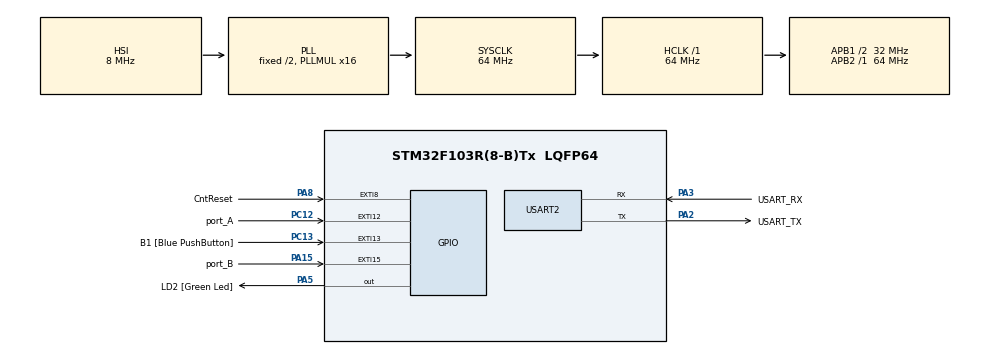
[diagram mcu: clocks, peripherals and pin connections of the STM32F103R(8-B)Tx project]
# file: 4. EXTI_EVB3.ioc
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Mcu.Family=STM32F1
Mcu.Name=STM32F103R(8-B)Tx
Mcu.Package=LQFP64
NVIC.EXTI15_10_IRQn=true\:0\:0\:false\:false\:true\:true\:true\:true
NVIC.PriorityGroup=NVIC_PRIORITYGROUP_4
PA13.GPIO_Label=TMS
PA13.Mode=Serial_Wire
PA13.Signal=SYS_JTMS-SWDIO
PA14.GPIO_Label=TCK
PA14.Mode=Serial_Wire
PA14.Signal=SYS_JTCK-SWCLK
PA15.GPIO_Label=port_B
PA15.Signal=GPXTI15
PA2.GPIO_Label=USART_TX
PA2.GPIO_Mode=GPIO_MODE_AF_PP
PA2.GPIO_PuPd=GPIO_NOPULL
PA2.GPIO_Speed=GPIO_SPEED_FREQ_LOW
PA2.Mode=Asynchronous
PA2.Signal=USART2_TX
PA3.GPIO_Label=USART_RX
PA3.GPIO_Mode=GPIO_MODE_AF_PP
PA3.GPIO_PuPd=GPIO_NOPULL
PA3.GPIO_Speed=GPIO_SPEED_FREQ_LOW
PA3.Mode=Asynchronous
PA3.Signal=USART2_RX
PA5.GPIO_Label=LD2 [Green Led]
PA5.GPIO_ModeDefaultOutputPP=GPIO_MODE_OUTPUT_PP
PA5.GPIO_PuPd=GPIO_NOPULL
PA5.GPIO_Speed=GPIO_SPEED_FREQ_LOW
PA5.Signal=GPIO_Output
PA8.GPIO_Label=CntReset
PA8.GPIO_ModeDefaultEXTI=GPIO_MODE_IT_FALLING
PA8.Signal=GPXTI8
PB3.GPIO_Label=SWO
PB3.Signal=SYS_JTDO-TRACESWO
PC12.GPIO_Label=port_A
PC12.Signal=GPXTI12
PC13-TAMPER-RTC.GPIO_Label=B1 [Blue PushButton]
PC13-TAMPER-RTC.GPIO_PuPd=GPIO_NOPULL
PC13-TAMPER-RTC.Signal=GPXTI13
PC14-OSC32_IN.Signal=RCC_OSC32_IN
PC15-OSC32_OUT.Signal=RCC_OSC32_OUT
PD0-OSC_IN.Signal=RCC_OSC_IN
PD1-OSC_OUT.Signal=RCC_OSC_OUT
ProjectManager.HeapSize=0x200
ProjectManager.StackSize=0x400
ProjectManager.TargetToolchain=STM32CubeIDE
RCC.AHBFreq_Value=64000000
RCC.APB1CLKDivider=RCC_HCLK_DIV2
RCC.APB1Freq_Value=32000000
RCC.APB1TimFreq_Value=64000000
RCC.APB2Freq_Value=64000000
RCC.APB2TimFreq_Value=64000000
RCC.HCLKFreq_Value=64000000
RCC.PLLMUL=RCC_PLL_MUL16
RCC.RTCClockSelection=RCC_RTCCLKSOURCE_LSE
RCC.SYSCLKFreq_VALUE=64000000
RCC.SYSCLKSource=RCC_SYSCLKSOURCE_PLLCLK
RCC.USBFreq_Value=64000000
USART2.VirtualMode=VM_ASYNC
board=NUCLEO-F103RB

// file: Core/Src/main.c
/* USER CODE BEGIN Header */
/**
  ******************************************************************************
  * @file           : main.c
  * @brief          : Main program body
  ******************************************************************************
  * @attention
  *
  * Copyright (c) 2025 STMicroelectronics.
  * All rights reserved.
  *
  * This software is licensed under terms that can be found in the LICENSE file
  * in the root directory of this software component.
  * If no LICENSE file comes with this software, it is provided AS-IS.
  *
  ******************************************************************************
  */
/* USER CODE END Header */
#include "main.h"

/* USER CODE BEGIN Includes */
#include <stdio.h>
/* USER CODE END Includes */

UART_HandleTypeDef huart2;

void SystemClock_Config(void);
static void MX_GPIO_Init(void);
static void MX_USART2_UART_Init(void);

/* USER CODE BEGIN 0 */
#ifdef __GNUC__
#define PUTCHAR_PROTOTYPE int __io_putchar(int ch)
#else
#define PUTCHAR_PROTOTYPE int fputc(int ch, FILE *f)
#endif

PUTCHAR_PROTOTYPE
{
	if (ch == '\n')
		HAL_UART_Transmit(&huart2, (uint8_t*) "\r", 1, 0xFFFF);
	HAL_UART_Transmit(&huart2, (uint8_t*) &ch, 1, 0xFFFF);

	return ch;
}

int EncCnt = 0;
/* USER CODE END 0 */

int main(void)
{

  /* MCU Configuration--------------------------------------------------------*/

  /* Reset of all peripherals, Initializes the Flash interface and the Systick. */
  HAL_Init();

  /* Configure the system clock */
  SystemClock_Config();

  /* Initialize all configured peripherals */
  MX_GPIO_Init();
  MX_USART2_UART_Init();

  /* Infinite loop */
  /* USER CODE BEGIN WHILE */
  int prevCnt = 0;

  while (1)
  {
    /* USER CODE END WHILE */

    /* USER CODE BEGIN 3 */
	  if(prevCnt != EncCnt) {
		  prevCnt = EncCnt;
		  printf("Count: %d\n", EncCnt);
	  }
  }
  /* USER CODE END 3 */
}

void SystemClock_Config(void)
{
  RCC_OscInitTypeDef RCC_OscInitStruct = {0};
  RCC_ClkInitTypeDef RCC_ClkInitStruct = {0};

  /** Initializes the RCC Oscillators according to the specified parameters
  * in the RCC_OscInitTypeDef structure.
  */
  RCC_OscInitStruct.OscillatorType = RCC_OSCILLATORTYPE_HSI;
  RCC_OscInitStruct.HSIState = RCC_HSI_ON;
  RCC_OscInitStruct.HSICalibrationValue = RCC_HSICALIBRATION_DEFAULT;
  RCC_OscInitStruct.PLL.PLLState = RCC_PLL_ON;
  RCC_OscInitStruct.PLL.PLLSource = RCC_PLLSOURCE_HSI_DIV2;
  RCC_OscInitStruct.PLL.PLLMUL = RCC_PLL_MUL16;
  if (HAL_RCC_OscConfig(&RCC_OscInitStruct) != HAL_OK)
  {
    Error_Handler();
  }

  /** Initializes the CPU, AHB and APB buses clocks
  */
  RCC_ClkInitStruct.ClockType = RCC_CLOCKTYPE_HCLK|RCC_CLOCKTYPE_SYSCLK
                              |RCC_CLOCKTYPE_PCLK1|RCC_CLOCKTYPE_PCLK2;
  RCC_ClkInitStruct.SYSCLKSource = RCC_SYSCLKSOURCE_PLLCLK;
  RCC_ClkInitStruct.AHBCLKDivider = RCC_SYSCLK_DIV1;
  RCC_ClkInitStruct.APB1CLKDivider = RCC_HCLK_DIV2;
  RCC_ClkInitStruct.APB2CLKDivider = RCC_HCLK_DIV1;

  if (HAL_RCC_ClockConfig(&RCC_ClkInitStruct, FLASH_LATENCY_2) != HAL_OK)
  {
    Error_Handler();
  }
}

static void MX_USART2_UART_Init(void)
{

  huart2.Instance = USART2;
  huart2.Init.BaudRate = 115200;
  huart2.Init.WordLength = UART_WORDLENGTH_8B;
  huart2.Init.StopBits = UART_STOPBITS_1;
  huart2.Init.Parity = UART_PARITY_NONE;
  huart2.Init.Mode = UART_MODE_TX_RX;
  huart2.Init.HwFlowCtl = UART_HWCONTROL_NONE;
  huart2.Init.OverSampling = UART_OVERSAMPLING_16;
  if (HAL_UART_Init(&huart2) != HAL_OK)
  {
    Error_Handler();
  }

}

static void MX_GPIO_Init(void)
{
  GPIO_InitTypeDef GPIO_InitStruct = {0};

  /* GPIO Ports Clock Enable */
  __HAL_RCC_GPIOC_CLK_ENABLE();
  __HAL_RCC_GPIOD_CLK_ENABLE();
  __HAL_RCC_GPIOA_CLK_ENABLE();
  __HAL_RCC_GPIOB_CLK_ENABLE();

  /*Configure GPIO pin Output Level */
  HAL_GPIO_WritePin(LD2_GPIO_Port, LD2_Pin, GPIO_PIN_RESET);

  /*Configure GPIO pins : B1_Pin port_A_Pin */
  GPIO_InitStruct.Pin = B1_Pin|port_A_Pin;
  GPIO_InitStruct.Mode = GPIO_MODE_IT_RISING;
  GPIO_InitStruct.Pull = GPIO_NOPULL;
  HAL_GPIO_Init(GPIOC, &GPIO_InitStruct);

  /*Configure GPIO pin : LD2_Pin */
  GPIO_InitStruct.Pin = LD2_Pin;
  GPIO_InitStruct.Mode = GPIO_MODE_OUTPUT_PP;
  GPIO_InitStruct.Pull = GPIO_NOPULL;
  GPIO_InitStruct.Speed = GPIO_SPEED_FREQ_LOW;
  HAL_GPIO_Init(LD2_GPIO_Port, &GPIO_InitStruct);

  /*Configure GPIO pin : CntReset_Pin */
  GPIO_InitStruct.Pin = CntReset_Pin;
  GPIO_InitStruct.Mode = GPIO_MODE_IT_FALLING;
  GPIO_InitStruct.Pull = GPIO_NOPULL;
  HAL_GPIO_Init(CntReset_GPIO_Port, &GPIO_InitStruct);

  /*Configure GPIO pin : port_B_Pin */
  GPIO_InitStruct.Pin = port_B_Pin;
  GPIO_InitStruct.Mode = GPIO_MODE_IT_RISING;
  GPIO_InitStruct.Pull = GPIO_NOPULL;
  HAL_GPIO_Init(port_B_GPIO_Port, &GPIO_InitStruct);

  /* EXTI interrupt init*/
  HAL_NVIC_SetPriority(EXTI15_10_IRQn, 0, 0);
  HAL_NVIC_EnableIRQ(EXTI15_10_IRQn);

}

/* USER CODE BEGIN 4 */
void HAL_GPIO_EXTI_Callback(uint16_t GPIO_Pin) {
	switch(GPIO_Pin) {
	case(GPIO_PIN_8):
		EncCnt = 0;
		break;

	case(port_A_Pin):
		if(!HAL_GPIO_ReadPin(port_B_GPIO_Port, port_B_Pin))
			EncCnt++;
		break;

	case(port_B_Pin):
		if(!HAL_GPIO_ReadPin(port_A_GPIO_Port, port_A_Pin))
			EncCnt--;
		break;

	default:
		;
	}
}
/* USER CODE END 4 */

void Error_Handler(void)
{
  __disable_irq();
  while (1)
  {
  }
}
